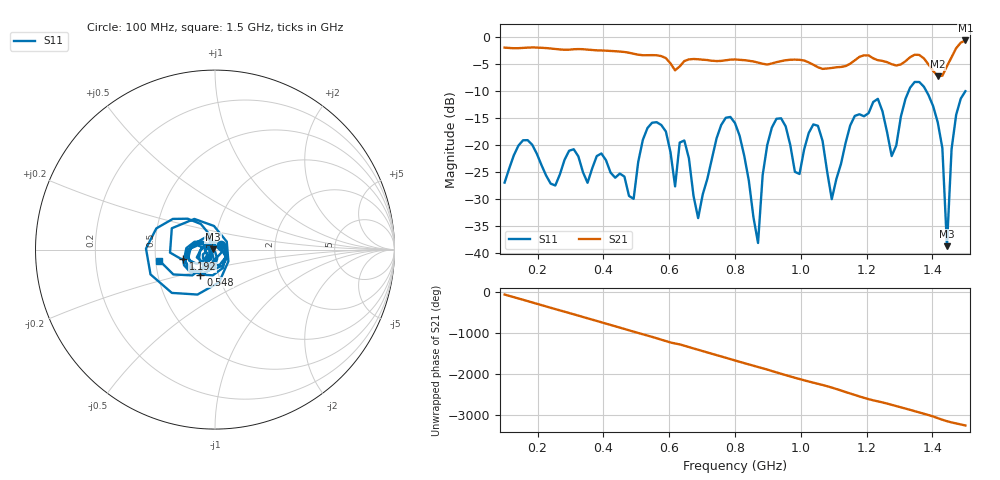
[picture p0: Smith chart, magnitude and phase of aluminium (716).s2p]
! NanoVNA-App
! Date: 2025-09-25 15:00:51
! Start: 100MHz Stop: 1,5GHz Points: 101
! S-Parameter data: F S11 S21 S12 S22
# Hz S RI R 50
!  Frequency  S11_Real  S11_Imag  S21_Real  S21_Imag  S12_Real  S12_Imag  S22_Real  S22_Imag
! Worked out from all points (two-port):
!   101 points, 100 MHz to 1.5 GHz, reference 50 ohm
!   highest |S21| = -0.59 dB at 1.5 GHz (marker M1); lowest = -7.2 dB at 1.416 GHz (marker M2)
!   |S21| within 3 dB of the highest: start of sweep to 579.6 MHz; 1.459 GHz to end of sweep (the widest 2 of 4)
!   lowest |S11| = -38.7 dB at 1.444 GHz (marker M3), VSWR 1.02, Z = 48.9 + j0.245 ohm
!   |S11| at or under -10 dB: start of sweep to 1.328 GHz; 1.381 GHz to end of sweep
!   S12 and S22 are empty: the file has one direction only
!   S11 on the Smith chart (normalised r, x): 100 MHz: 1.07, +0.06; 548 MHz: 0.82, -0.23; 1.192 GHz: 0.70, -0.08; 1.5 GHz: 0.52, -0.07
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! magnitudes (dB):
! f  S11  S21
! 100 MHz  -27.0  -1.9
! 156 MHz  -19.1  -2.0
! 338 MHz  -25.0  -2.2
! 492 MHz  -30.0  -3.1
! 548 MHz  -15.9  -3.3
! 576 MHz  -16.3  -3.5
! 618 MHz  -27.7  -6.1
! 646 MHz  -19.1  -4.4
! 688 MHz  -33.5  -4.1
! 800 MHz  -15.9  -4.1
! 870 MHz  -38.2  -4.7
! 912 MHz  -16.7  -4.9
! 996 MHz  -25.4  -4.2
! 1.038 GHz  -16.2  -5.1
! 1.094 GHz  -30.0  -5.7
! 1.192 GHz  -14.7  -3.4
! 1.276 GHz  -22.0  -5.0
! 1.346 GHz  -8.3  -3.2
! 1.416 GHz  -15.8  -7.2
! 1.444 GHz  -38.7  -5.4
! 1.458 GHz  -20.7  -3.7
! 1.5 GHz  -10.0  -0.6
